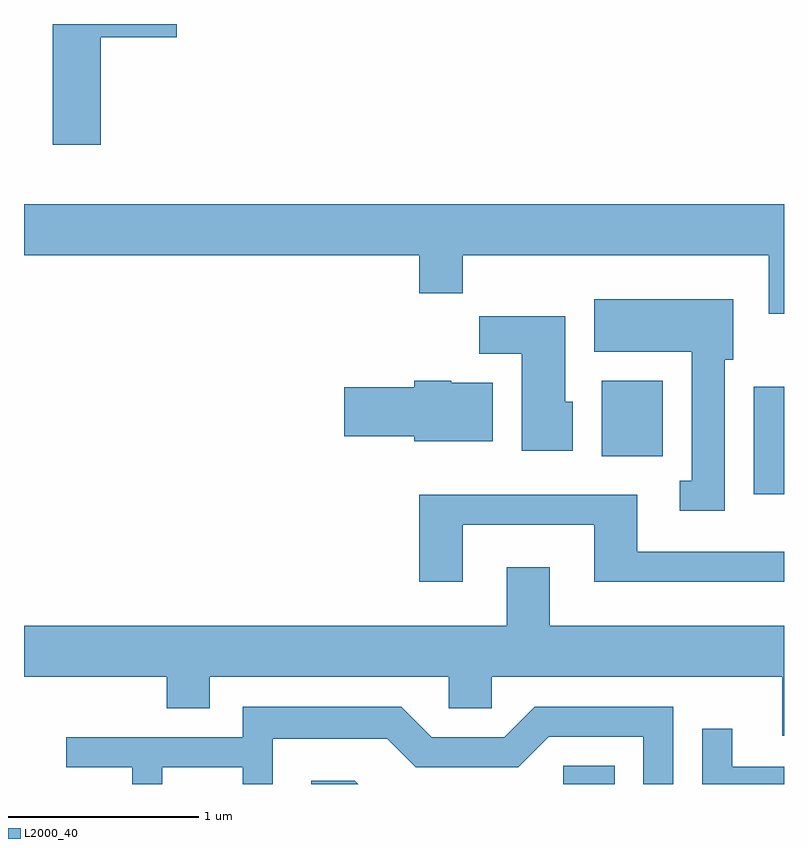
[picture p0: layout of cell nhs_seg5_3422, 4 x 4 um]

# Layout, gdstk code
import gdstk
lib = gdstk.Library(unit=1e-6, precision=1e-09)
def R(c, l, rs):  # rectangles x0, y0, x1, y1
    for r in rs: c.add(gdstk.rectangle(r[:2], r[2:], *l))
def P(c, l, *ps):  # polygons
    for p in ps: c.add(gdstk.Polygon(p, *l))
L2000_40 = (2000, 40)

nhs_seg5_3422 = lib.new_cell('nhs_seg5_3422')
R(nhs_seg5_3422, L2000_40, [(290.448,1394.072,290.719,1394.169), (291.451,1395.596,291.611,1396.164), (290.651,1395.796,290.974,1396.194)])
P(nhs_seg5_3422, L2000_40, [(288.014,1398.001),(288.414,1398.001),(288.414,1398.072),(287.761,1398.072),(287.761,1397.436),(288.014,1397.436)],
  [(291.611,1397.124),(287.611,1397.124),(287.611,1396.856),(289.691,1396.856),(289.691,1396.656),(289.919,1396.656),(289.919,1396.856),(291.531,1396.856),(291.531,1396.546),(291.611,1396.546)],
  [(291.299,1396.306),(291.344,1396.306),(291.344,1396.624),(290.611,1396.624),(290.611,1396.346),(291.126,1396.346),(291.126,1395.669),(291.063,1395.669),(291.063,1395.511),(291.299,1395.511)],
  [(290.499,1396.084),(290.459,1396.084),(290.459,1396.534),(290.006,1396.534),(290.006,1396.336),(290.231,1396.336),(290.231,1395.826),(290.499,1395.826)],
  [(290.079,1396.184),(289.86,1396.184),(289.86,1396.194),(289.666,1396.194),(289.666,1396.159),(289.296,1396.159),(289.296,1395.901),(289.666,1395.901),(289.666,1395.876),(290.079,1395.876)],
  [(289.919,1395.436),(290.611,1395.436),(290.611,1395.136),(291.611,1395.136),(291.611,1395.294),(290.839,1395.294),(290.839,1395.594),(289.691,1395.594),(289.691,1395.136),(289.919,1395.136)],
  [(291.611,1394.904),(290.379,1394.904),(290.379,1395.214),(290.151,1395.214),(290.151,1394.904),(287.611,1394.904),(287.611,1394.636),(288.361,1394.636),(288.361,1394.471),(288.589,1394.471),(288.589,1394.636),(289.846,1394.636),(289.846,1394.471),(290.074,1394.471),(290.074,1394.636),(291.601,1394.636),(291.601,1394.326),(291.611,1394.326)],
  [(288.339,1394.161),(288.761,1394.161),(288.761,1394.072),(288.919,1394.072),(288.919,1394.311),(289.524,1394.311),(289.674,1394.161),(290.212,1394.161),(290.372,1394.321),(290.871,1394.321),(290.871,1394.072),(291.029,1394.072),(291.029,1394.479),(290.299,1394.479),(290.139,1394.319),(289.757,1394.319),(289.597,1394.479),(288.761,1394.479),(288.761,1394.319),(287.833,1394.319),(287.833,1394.161),(288.181,1394.161),(288.181,1394.072),(288.339,1394.072)],
  [(291.611,1394.164),(291.339,1394.164),(291.339,1394.363),(291.181,1394.363),(291.181,1394.072),(291.611,1394.072)],
  [(289.352,1394.089),(289.123,1394.089),(289.123,1394.072),(289.369,1394.072)])

lib.write_gds('nhs_seg5_3422.gds')
